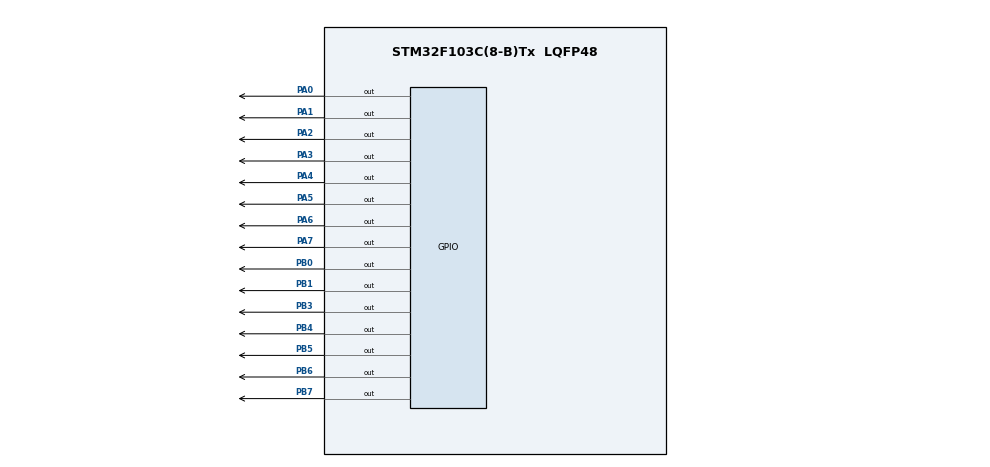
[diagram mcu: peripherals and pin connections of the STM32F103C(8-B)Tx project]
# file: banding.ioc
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Mcu.Family=STM32F1
Mcu.Name=STM32F103C(8-B)Tx
Mcu.Package=LQFP48
NVIC.PriorityGroup=NVIC_PRIORITYGROUP_4
PA0-WKUP.Signal=GPIO_Output
PA1.Signal=GPIO_Output
PA13.Mode=Serial_Wire
PA13.Signal=SYS_JTMS-SWDIO
PA14.Mode=Serial_Wire
PA14.Signal=SYS_JTCK-SWCLK
PA2.Signal=GPIO_Output
PA3.Signal=GPIO_Output
PA4.Signal=GPIO_Output
PA5.Signal=GPIO_Output
PA6.Signal=GPIO_Output
PA7.Signal=GPIO_Output
PB0.Signal=GPIO_Output
PB1.Signal=GPIO_Output
PB3.Signal=GPIO_Output
PB4.Signal=GPIO_Output
PB5.Signal=GPIO_Output
PB6.Signal=GPIO_Output
PB7.Signal=GPIO_Output
ProjectManager.HeapSize=0x200
ProjectManager.StackSize=0x400
ProjectManager.TargetToolchain=Makefile
RCC.APB1Freq_Value=8000000
RCC.APB2Freq_Value=8000000
board=banding

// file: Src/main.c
/**
  ******************************************************************************
  * File Name          : main.c
  * Description        : Main program body
  ******************************************************************************
  ** This notice applies to any and all portions of this file
  * that are not between comment pairs USER CODE BEGIN and
  * USER CODE END. Other portions of this file, whether
  * inserted by the user or by software development tools
  * are owned by their respective copyright owners.
  *
  * COPYRIGHT(c) 2017 STMicroelectronics
  *
  * Redistribution and use in source and binary forms, with or without modification,
  * are permitted provided that the following conditions are met:
  *   1. Redistributions of source code must retain the above copyright notice,
  *      this list of conditions and the following disclaimer.
  *   2. Redistributions in binary form must reproduce the above copyright notice,
  *      this list of conditions and the following disclaimer in the documentation
  *      and/or other materials provided with the distribution.
  *   3. Neither the name of STMicroelectronics nor the names of its contributors
  *      may be used to endorse or promote products derived from this software
  *      without specific prior written permission.
  *
  * THIS SOFTWARE IS PROVIDED BY THE COPYRIGHT HOLDERS AND CONTRIBUTORS "AS IS"
  * AND ANY EXPRESS OR IMPLIED WARRANTIES, INCLUDING, BUT NOT LIMITED TO, THE
  * IMPLIED WARRANTIES OF MERCHANTABILITY AND FITNESS FOR A PARTICULAR PURPOSE ARE
  * DISCLAIMED. IN NO EVENT SHALL THE COPYRIGHT HOLDER OR CONTRIBUTORS BE LIABLE
  * FOR ANY DIRECT, INDIRECT, INCIDENTAL, SPECIAL, EXEMPLARY, OR CONSEQUENTIAL
  * DAMAGES (INCLUDING, BUT NOT LIMITED TO, PROCUREMENT OF SUBSTITUTE GOODS OR
  * SERVICES; LOSS OF USE, DATA, OR PROFITS; OR BUSINESS INTERRUPTION) HOWEVER
  * CAUSED AND ON ANY THEORY OF LIABILITY, WHETHER IN CONTRACT, STRICT LIABILITY,
  * OR TORT (INCLUDING NEGLIGENCE OR OTHERWISE) ARISING IN ANY WAY OUT OF THE USE
  * OF THIS SOFTWARE, EVEN IF ADVISED OF THE POSSIBILITY OF SUCH DAMAGE.
  *
  ******************************************************************************
  */
#include "main.h"
#include "stm32f1xx_hal.h"

/* USER CODE BEGIN Includes */
/* memory and peripheral start addresses */

/* pin definitions */
#define Pin0 0
#define Pin1 1
#define Pin2 2
#define Pin3 3
#define Pin4 4
#define Pin5 5
#define Pin6 6
#define Pin7 7
#define Pin8 8

// #define OUTPUT_MODE     (0x10|0x03) // output mode: push-pull + 50MHz

/* RCC peripheral addresses applicable to GPIOA */
// #define RCC_APB2ENR     (*(volatile unsigned long*)(RCC_BASE + 0x18))

/* GPIOA peripheral addresses */
// #define GPIOA_CRL   (*(volatile unsigned long*)(GPIOA_BASE + 0x00))
// #define GPIOA_CRH   (*(volatile unsigned long*)(GPIOA_BASE + 0x04))

#define GPIOA_Hi    (*(volatile unsigned long*)(GPIOA_BASE + 0x10))
#define GPIOA_Lo    (*(volatile unsigned long*)(GPIOA_BASE + 0x14))

// #define GPIOB_CRL   (*(volatile unsigned long*)(GPIOB_BASE + 0x00))
// #define GPIOB_CRH   (*(volatile unsigned long*)(GPIOB_BASE + 0x04))

#define GPIOB_Hi    (*(volatile unsigned long*)(GPIOB_BASE + 0x10))
#define GPIOB_Lo    (*(volatile unsigned long*)(GPIOB_BASE + 0x14))
/* USER CODE END Includes */

DMA_HandleTypeDef hdma_memtomem_dma1_channel1;

/* USER CODE BEGIN PV */
/* Private variables ---------------------------------------------------------*/
__STATIC_INLINE void DelayMicro(uint32_t __IO micros)
{
  micros *=(SystemCoreClock/1000000)/5;
  while(micros--);
}

/* USER CODE END PV */

void SystemClock_Config(void);
static void MX_GPIO_Init(void);
static void MX_DMA_Init(void);

/* USER CODE BEGIN PFP */
/* Private function prototypes -----------------------------------------------*/

/* USER CODE END PFP */

/* USER CODE BEGIN 0 */
/* vector table */

/* USER CODE END 0 */

int main(void)
{

  /* USER CODE BEGIN 1 */
    /* enable clock on GPIOA peripheral */
    //RCC_APB2ENR = 0x04;

    /* pin output mode */
//     GPIOA_CRL |= OUTPUT_MODE << ((P0) << 2);
//     GPIOA_CRH |= OUTPUT_MODE << ((P0) << 2);
//     GPIOA_CRL |= OUTPUT_MODE << ((P5) << 2);

  /* USER CODE END 1 */

  /* MCU Configuration----------------------------------------------------------*/

  /* Reset of all peripherals, Initializes the Flash interface and the Systick. */
  HAL_Init();

  /* Configure the system clock */
  SystemClock_Config();

  /* Initialize all configured peripherals */
  MX_GPIO_Init();
  MX_DMA_Init();

  /* Infinite loop */
  /* USER CODE BEGIN WHILE */
  while (1)
  {
   /*
     uint8_t j;
     for (j=0x01; j<=0x80; j<<=1) // Mask changed  from 0x01 (P1.1) up to 0x80 (P1.7)
     {
       if (j==0) j=0x01;
         GPIOA_Lo = j;
       HAL_Delay(3);
       GPIOA_Hi = j;
     }
     HAL_Delay(3);
   */
      float i;

     for(i=200;i<1500;i+=100)
     {
       GPIOA_Hi = 1<<Pin0;
       GPIOA_Lo = 1<<Pin1;
       GPIOA_Hi = 1<<Pin2;
       GPIOA_Lo = 1<<Pin3;
       GPIOA_Hi = 1<<Pin4;
       GPIOA_Lo = 1<<Pin5;
       GPIOA_Hi = 1<<Pin6;
       GPIOA_Lo = 1<<Pin7;
       GPIOA_Hi = 1<<Pin8;
       DelayMicro(i*100);
       GPIOA_Lo = 1<<Pin0;
       GPIOA_Hi = 1<<Pin1;
       GPIOA_Lo = 1<<Pin2;
       GPIOA_Hi = 1<<Pin3;
       GPIOA_Lo = 1<<Pin4;
       GPIOA_Hi = 1<<Pin5;
       GPIOA_Lo = 1<<Pin6;
       GPIOA_Hi = 1<<Pin7;
       GPIOA_Lo = 1<<Pin8;
       DelayMicro(i*100);
     }
     if(i>1200)
     for(i=1500;i>200;i-=100)
     {
       GPIOA_Hi = 1<<Pin0;
       GPIOA_Lo = 1<<Pin1;
       GPIOA_Hi = 1<<Pin2;
       GPIOA_Lo = 1<<Pin3;
       GPIOA_Hi = 1<<Pin4;
       GPIOA_Lo = 1<<Pin5;
       GPIOA_Hi = 1<<Pin6;
       GPIOA_Lo = 1<<Pin7;
       GPIOA_Hi = 1<<Pin8;
       DelayMicro(i*100);
       GPIOA_Lo = 1<<Pin0;
       GPIOA_Hi = 1<<Pin1;
       GPIOA_Lo = 1<<Pin2;
       GPIOA_Hi = 1<<Pin3;
       GPIOA_Lo = 1<<Pin4;
       GPIOA_Hi = 1<<Pin5;
       GPIOA_Lo = 1<<Pin6;
       GPIOA_Hi = 1<<Pin7;
       GPIOA_Lo = 1<<Pin8;
       DelayMicro(i*100);
     }

     GPIOA_Hi = 1<<Pin0;
     GPIOA_Hi = 1<<Pin1;
     GPIOA_Hi = 1<<Pin2;
     GPIOA_Hi = 1<<Pin3;
     GPIOA_Hi = 1<<Pin4;
     GPIOA_Hi = 1<<Pin5;
     GPIOA_Hi = 1<<Pin6;
     GPIOA_Hi = 1<<Pin7;
     GPIOA_Hi = 1<<Pin8;
     DelayMicro(500000);

     for(i=200;i<1500;i+=100)
     {
       GPIOB_Hi = 1<<Pin0;
       GPIOB_Lo = 1<<Pin1;
       GPIOB_Hi = 1<<Pin2;
       GPIOB_Lo = 1<<Pin3;
       GPIOB_Hi = 1<<Pin4;
       GPIOB_Lo = 1<<Pin5;
       GPIOB_Hi = 1<<Pin6;
       GPIOB_Lo = 1<<Pin7;
       GPIOB_Hi = 1<<Pin8;
       DelayMicro(i*100);
       GPIOB_Lo = 1<<Pin0;
       GPIOB_Hi = 1<<Pin1;
       GPIOB_Lo = 1<<Pin2;
       GPIOB_Hi = 1<<Pin3;
       GPIOB_Lo = 1<<Pin4;
       GPIOB_Hi = 1<<Pin5;
       GPIOB_Lo = 1<<Pin6;
       GPIOB_Hi = 1<<Pin7;
       GPIOB_Lo = 1<<Pin8;
       DelayMicro(i*100);
     }
     if(i>1200)
     for(i=1500;i>200;i-=100)
     {
       GPIOB_Hi = 1<<Pin0;
       GPIOB_Lo = 1<<Pin1;
       GPIOB_Hi = 1<<Pin2;
       GPIOB_Lo = 1<<Pin3;
       GPIOB_Hi = 1<<Pin4;
       GPIOB_Lo = 1<<Pin5;
       GPIOB_Hi = 1<<Pin6;
       GPIOB_Lo = 1<<Pin7;
       GPIOB_Hi = 1<<Pin8;
       DelayMicro(i*100);
       GPIOB_Lo = 1<<Pin0;
       GPIOB_Hi = 1<<Pin1;
       GPIOB_Lo = 1<<Pin2;
       GPIOB_Hi = 1<<Pin3;
       GPIOB_Lo = 1<<Pin4;
       GPIOB_Hi = 1<<Pin5;
       GPIOB_Lo = 1<<Pin6;
       GPIOB_Hi = 1<<Pin7;
       GPIOB_Lo = 1<<Pin8;
       DelayMicro(i*100);
     }

     GPIOB_Hi = 1<<Pin0;
     GPIOB_Hi = 1<<Pin1;
     GPIOB_Hi = 1<<Pin2;
     GPIOB_Hi = 1<<Pin3;
     GPIOB_Hi = 1<<Pin4;
     GPIOB_Hi = 1<<Pin5;
     GPIOB_Hi = 1<<Pin6;
     GPIOB_Hi = 1<<Pin7;
     GPIOB_Hi = 1<<Pin8;
     DelayMicro(500000);

  /* USER CODE END WHILE */

  }

}

/** System Clock Configuration
*/
void SystemClock_Config(void)
{

  RCC_OscInitTypeDef RCC_OscInitStruct;
  RCC_ClkInitTypeDef RCC_ClkInitStruct;

    /**Initializes the CPU, AHB and APB busses clocks
    */
  RCC_OscInitStruct.OscillatorType = RCC_OSCILLATORTYPE_HSI;
  RCC_OscInitStruct.HSIState = RCC_HSI_ON;
  RCC_OscInitStruct.HSICalibrationValue = 16;
  RCC_OscInitStruct.PLL.PLLState = RCC_PLL_NONE;
  if (HAL_RCC_OscConfig(&RCC_OscInitStruct) != HAL_OK)
  {
    _Error_Handler(__FILE__, __LINE__);
  }

    /**Initializes the CPU, AHB and APB busses clocks
    */
  RCC_ClkInitStruct.ClockType = RCC_CLOCKTYPE_HCLK|RCC_CLOCKTYPE_SYSCLK
                              |RCC_CLOCKTYPE_PCLK1|RCC_CLOCKTYPE_PCLK2;
  RCC_ClkInitStruct.SYSCLKSource = RCC_SYSCLKSOURCE_HSI;
  RCC_ClkInitStruct.AHBCLKDivider = RCC_SYSCLK_DIV1;
  RCC_ClkInitStruct.APB1CLKDivider = RCC_HCLK_DIV1;
  RCC_ClkInitStruct.APB2CLKDivider = RCC_HCLK_DIV1;

  if (HAL_RCC_ClockConfig(&RCC_ClkInitStruct, FLASH_LATENCY_0) != HAL_OK)
  {
    _Error_Handler(__FILE__, __LINE__);
  }

    /**Configure the Systick interrupt time
    */
  HAL_SYSTICK_Config(HAL_RCC_GetHCLKFreq()/1000);

    /**Configure the Systick
    */
  HAL_SYSTICK_CLKSourceConfig(SYSTICK_CLKSOURCE_HCLK);

  /* SysTick_IRQn interrupt configuration */
  HAL_NVIC_SetPriority(SysTick_IRQn, 0, 0);
}

static void MX_DMA_Init(void)
{
  /* DMA controller clock enable */
  __HAL_RCC_DMA1_CLK_ENABLE();

  /* Configure DMA request hdma_memtomem_dma1_channel1 on DMA1_Channel1 */
  hdma_memtomem_dma1_channel1.Instance = DMA1_Channel1;
  hdma_memtomem_dma1_channel1.Init.Direction = DMA_MEMORY_TO_MEMORY;
  hdma_memtomem_dma1_channel1.Init.PeriphInc = DMA_PINC_ENABLE;
  hdma_memtomem_dma1_channel1.Init.MemInc = DMA_MINC_ENABLE;
  hdma_memtomem_dma1_channel1.Init.PeriphDataAlignment = DMA_PDATAALIGN_BYTE;
  hdma_memtomem_dma1_channel1.Init.MemDataAlignment = DMA_MDATAALIGN_BYTE;
  hdma_memtomem_dma1_channel1.Init.Mode = DMA_NORMAL;
  hdma_memtomem_dma1_channel1.Init.Priority = DMA_PRIORITY_LOW;
  if (HAL_DMA_Init(&hdma_memtomem_dma1_channel1) != HAL_OK)
  {
    _Error_Handler(__FILE__, __LINE__);
  }

}

/** Configure pins as
        * Analog
        * Input
        * Output
        * EVENT_OUT
        * EXTI
*/
static void MX_GPIO_Init(void)
{

  GPIO_InitTypeDef GPIO_InitStruct;

  /* GPIO Ports Clock Enable */
  __HAL_RCC_GPIOA_CLK_ENABLE();
  __HAL_RCC_GPIOB_CLK_ENABLE();

  /*Configure GPIO pin Output Level */
  HAL_GPIO_WritePin(GPIOA, GPIO_PIN_0|GPIO_PIN_1|GPIO_PIN_2|GPIO_PIN_3
                          |GPIO_PIN_4|GPIO_PIN_5|GPIO_PIN_6|GPIO_PIN_7, GPIO_PIN_RESET);

  /*Configure GPIO pin Output Level */
  HAL_GPIO_WritePin(GPIOB, GPIO_PIN_0|GPIO_PIN_1|GPIO_PIN_3|GPIO_PIN_4
                          |GPIO_PIN_5|GPIO_PIN_6|GPIO_PIN_7, GPIO_PIN_RESET);

  /*Configure GPIO pins : PA0 PA1 PA2 PA3
                           PA4 PA5 PA6 PA7 */
  GPIO_InitStruct.Pin = GPIO_PIN_0|GPIO_PIN_1|GPIO_PIN_2|GPIO_PIN_3
                          |GPIO_PIN_4|GPIO_PIN_5|GPIO_PIN_6|GPIO_PIN_7;
  GPIO_InitStruct.Mode = GPIO_MODE_OUTPUT_PP;
  GPIO_InitStruct.Speed = GPIO_SPEED_FREQ_LOW;
  HAL_GPIO_Init(GPIOA, &GPIO_InitStruct);

  /*Configure GPIO pins : PB0 PB1 PB3 PB4
                           PB5 PB6 PB7 */
  GPIO_InitStruct.Pin = GPIO_PIN_0|GPIO_PIN_1|GPIO_PIN_3|GPIO_PIN_4
                          |GPIO_PIN_5|GPIO_PIN_6|GPIO_PIN_7;
  GPIO_InitStruct.Mode = GPIO_MODE_OUTPUT_PP;
  GPIO_InitStruct.Speed = GPIO_SPEED_FREQ_LOW;
  HAL_GPIO_Init(GPIOB, &GPIO_InitStruct);

}

void _Error_Handler(char * file, int line)
{
  while(1)
  {
  }
}

/************************ (C) COPYRIGHT STMicroelectronics *****END OF FILE****/
